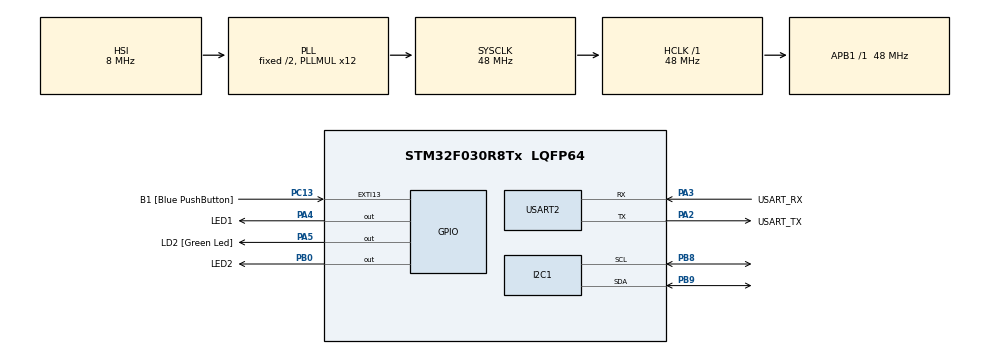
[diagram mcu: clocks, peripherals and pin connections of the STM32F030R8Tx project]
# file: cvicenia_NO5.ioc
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Dma.Request0=USART2_RX
Dma.USART2_RX.0.Direction=DMA_PERIPH_TO_MEMORY
Dma.USART2_RX.0.Instance=DMA1_Channel5
Dma.USART2_RX.0.MemDataAlignment=DMA_MDATAALIGN_BYTE
Dma.USART2_RX.0.MemInc=DMA_MINC_ENABLE
Dma.USART2_RX.0.Mode=DMA_CIRCULAR
Dma.USART2_RX.0.PeriphDataAlignment=DMA_PDATAALIGN_BYTE
Dma.USART2_RX.0.PeriphInc=DMA_PINC_DISABLE
Dma.USART2_RX.0.Priority=DMA_PRIORITY_LOW
Mcu.Family=STM32F0
Mcu.Name=STM32F030R8Tx
Mcu.Package=LQFP64
NVIC.DMA1_Channel4_5_IRQn=true\:0\:0\:false\:false\:true\:false\:true\:true
PA13.GPIO_Label=TMS
PA13.Mode=Serial_Wire
PA13.Signal=SYS_SWDIO
PA14.GPIO_Label=TCK
PA14.Mode=Serial_Wire
PA14.Signal=SYS_SWCLK
PA2.GPIO_Label=USART_TX
PA2.GPIO_Mode=GPIO_MODE_AF_PP
PA2.GPIO_PuPd=GPIO_NOPULL
PA2.GPIO_Speed=GPIO_SPEED_FREQ_LOW
PA2.Mode=Asynchronous
PA2.Signal=USART2_TX
PA3.GPIO_Label=USART_RX
PA3.GPIO_Mode=GPIO_MODE_AF_PP
PA3.GPIO_PuPd=GPIO_NOPULL
PA3.GPIO_Speed=GPIO_SPEED_FREQ_LOW
PA3.Mode=Asynchronous
PA3.Signal=USART2_RX
PA4.GPIO_Label=LED1
PA4.Signal=GPIO_Output
PA5.GPIO_Label=LD2 [Green Led]
PA5.GPIO_Mode=GPIO_MODE_OUTPUT_PP
PA5.GPIO_PuPd=GPIO_NOPULL
PA5.GPIO_Speed=GPIO_SPEED_FREQ_LOW
PA5.Signal=GPIO_Output
PB0.GPIO_Label=LED2
PB0.Signal=GPIO_Output
PB8.Mode=I2C
PB8.Signal=I2C1_SCL
PB9.Mode=I2C
PB9.Signal=I2C1_SDA
PC13.GPIO_Label=B1 [Blue PushButton]
PC13.GPIO_ModeDefaultEXTI=GPIO_MODE_IT_FALLING
PC13.Signal=GPXTI13
PC14-OSC32_IN.Mode=LSE-External-Oscillator
PC14-OSC32_IN.Signal=RCC_OSC32_IN
PC15-OSC32_OUT.Mode=LSE-External-Oscillator
PC15-OSC32_OUT.Signal=RCC_OSC32_OUT
PF0-OSC_IN.Mode=HSE-External-Clock-Source
PF0-OSC_IN.Signal=RCC_OSC_IN
PF1-OSC_OUT.Signal=RCC_OSC_OUT
ProjectManager.HeapSize=0x200
ProjectManager.StackSize=0x400
ProjectManager.TargetToolchain=STM32CubeIDE
RCC.AHBFreq_Value=48000000
RCC.APB1Freq_Value=48000000
RCC.APB1TimFreq_Value=48000000
RCC.HCLKFreq_Value=48000000
RCC.PLLMUL=RCC_PLL_MUL12
RCC.SYSCLKFreq_VALUE=48000000
RCC.SYSCLKSource=RCC_SYSCLKSOURCE_PLLCLK
USART2.VirtualMode-Asynchronous=VM_ASYNC
board=NUCLEO-F030R8

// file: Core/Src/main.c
/* USER CODE BEGIN Header */
/**
  ******************************************************************************
  * @file           : main.c
  * @brief          : Main program body
  ******************************************************************************
  * @attention
  *
  * Copyright (c) 2022 STMicroelectronics.
  * All rights reserved.
  *
  * This software is licensed under terms that can be found in the LICENSE file
  * in the root directory of this software component.
  * If no LICENSE file comes with this software, it is provided AS-IS.
  *
  ******************************************************************************
  */
/* USER CODE END Header */
#include "main.h"

/* USER CODE BEGIN Includes */
#include <stdio.h>
#include <string.h>
#include <stdlib.h>
/* USER CODE END Includes */

/* USER CODE BEGIN PD */
#define RX_BUFFER_LEN 64  //ukladanie surovych dat
#define uart_rx_write_ptr (RX_BUFFER_LEN - hdma_usart2_rx.Instance->CNDTR)
#define CMD_BUFFER_LEN 256  //ulozenie jedneho celeho prikazu
#define EEPROM_ADDR 0x40
/* USER CODE END PD */

I2C_HandleTypeDef hi2c1;

UART_HandleTypeDef huart2;
DMA_HandleTypeDef hdma_usart2_rx;

/* USER CODE BEGIN PV */
static uint8_t uart_rx_buf[RX_BUFFER_LEN];
static volatile uint16_t uart_rx_read_ptr = 0;
/* USER CODE END PV */

void SystemClock_Config(void);
static void MX_GPIO_Init(void);
static void MX_DMA_Init(void);
static void MX_USART2_UART_Init(void);
static void MX_I2C1_Init(void);

/* USER CODE BEGIN 0 */

//standartna weak funkcia,
int _write(int file, char const *buf, int n) {
	HAL_UART_Transmit(&huart2, (uint8_t*)(buf), n, HAL_MAX_DELAY);
	return n;
}

void uart_process_command(char* cmd) {

	char *token;  //token bude ukazovat na 1. slovo prikazu strtok...
	token = strtok(cmd, " ");  //strtok - "HELLO_WORLD\n\0" - ulozi string ukonceny \0, " " je vypis deliacich znakov, orezanie stringu vlozenim \0?

	//--------------READ-------------------
	if (strcasecmp(token, "READ") == 0) {
		token = strtok(NULL, " ");
		uint16_t addr = atoi(token);
		uint8_t value;

		HAL_I2C_Mem_Read(&hi2c1, EEPROM_ADDR, addr, I2C_MEMADD_SIZE_16BIT, &value, 1, 1000);
		printf("Address 0x%04x = 0x%02x\n", addr, value);

	}
	//--------------WRITE------------------
	else if (strcasecmp(token, "WRITE") == 0) {
		token = strtok(NULL, " ");
		uint8_t value = atoi(token);

		token = strtok(NULL, " ");
		uint8_t addr = atoi(token);

		HAL_I2C_Mem_Write(&hi2c1, EEPROM_ADDR, addr, I2C_MEMADD_SIZE_16BIT, &value, 1, 1000);

		while (HAL_I2C_IsDeviceReady(&hi2c1, EEPROM_ADDR, 300, 1000) == HAL_TIMEOUT) {}

		printf("WRITTEN\n");

	}
	//--------------DUMP-------------------
	else if (strcasecmp(token, "DUMP") == 0) {
		uint8_t value;
		for(int addr = 0; addr < 16; addr++)
		{
			HAL_I2C_Mem_Read(&hi2c1, EEPROM_ADDR, addr, I2C_MEMADD_SIZE_16BIT, &value, 1, 1000);
			printf("%02x", value);
			if((addr % 8 ) == 7) printf("\n");
			else printf(" ");
		}
	}
	else {
		printf("Unknown command: %s\n", token);
	}
}

/*

void uart_process_command(char* cmd) {
	//printf("Received: %s\n", cmd);  //print - vypis, f - format, %s - string

	char *token;  //token bude ukazovat na 1. slovo prikazu strtok...
	token = strtok(cmd, " ");  //strtok - "HELLO_WORLD\n\0" - ulozi string ukonceny \0, " " je vypis deliacich znakov, orezanie stringu vlozenim \0?

	//-------------HELLO-------------------
	if (strcasecmp(token, "HELLO") == 0) {
		printf("Hello World!\n");
	}
	//-------------LED1--------------------
	else if (strcasecmp(token, "LED1") == 0) {
		token = strtok(NULL, " ");
		if (strcasecmp(token, "ON") == 0) {
			HAL_GPIO_WritePin(LED1_GPIO_Port, LED1_Pin, 1);
		}
		else if (strcasecmp(token, "OFF") == 0) {
			HAL_GPIO_WritePin(LED1_GPIO_Port, LED1_Pin, 0);
		}
		printf("OK\n");
	}
	//-------------LED2--------------------
	else if (strcasecmp(token, "LED2") == 0) {
		token = strtok(NULL, " ");
		if (strcasecmp(token, "ON") == 0) {
			HAL_GPIO_WritePin(LED2_GPIO_Port, LED2_Pin, 1);
		}
		else if (strcasecmp(token, "OFF") == 0) {
			HAL_GPIO_WritePin(LED2_GPIO_Port, LED2_Pin, 0);
			printf("OK\n");
		}
	}

	//-------------STATUS-------------------
	else if (strcasecmp(token, "STATUS") == 0) {
		//token = strtok(NULL, " ");
		if (HAL_GPIO_ReadPin(LED1_GPIO_Port, LED1_Pin) == 0) {
			printf("LED1 is OFF\n");
		}
		else {
			printf("LED1 is ON\n");
		}
		if (HAL_GPIO_ReadPin(LED2_GPIO_Port, LED2_Pin) == 0) {
			printf("LED2 is OFF\n");
		}
		else {
			printf("LED2 is ON\n");
		}
	}
// %04x -> vypis "0001", kde 0 vypisany znak, 4 je pocet-1
}

*/

static void uart_byte_available(uint8_t c) {
	static uint16_t cnt;
	static char data[CMD_BUFFER_LEN];

	//kontroluje data v riadku
	//c >= 32 - kontrola tlacitelneho znaku ASCII (32 - 126 znakov ASCII)
	//je este priama moznost zadania znaku c >= ' ' && c <= '~' , kde medzera = 32 a ~ = 126
	if(cnt < CMD_BUFFER_LEN && c>= 32 && c <= 126) data[cnt++] = c;
	if ((c == '\n' || c == '\r') && cnt > 0) {
		data[cnt] = '\0';   //ukoncujeme 0 aby sme mohli pracovat s retazcom/stringom
		uart_process_command(data);
		cnt = 0;
	}
}
/* USER CODE END 0 */

int main(void)
{

  /* MCU Configuration--------------------------------------------------------*/

  /* Reset of all peripherals, Initializes the Flash interface and the Systick. */
  HAL_Init();

  /* Configure the system clock */
  SystemClock_Config();

  /* Initialize all configured peripherals */
  MX_GPIO_Init();
  MX_DMA_Init();
  MX_USART2_UART_Init();
  MX_I2C1_Init();
  /* USER CODE BEGIN 2 */
  HAL_UART_Receive_DMA(&huart2, uart_rx_buf, RX_BUFFER_LEN);
  /* USER CODE END 2 */

  /* Infinite loop */
  /* USER CODE BEGIN WHILE */
  while (1)
  {
	  while(uart_rx_read_ptr != uart_rx_write_ptr){
		  uint8_t b = uart_rx_buf[uart_rx_read_ptr];
		  if(++uart_rx_read_ptr >= RX_BUFFER_LEN) uart_rx_read_ptr = 0;

		  uart_byte_available(b);
	  }

	  /*
	uint8_t c;
	HAL_UART_Receive(&huart2, &c, 1, HAL_MAX_DELAY);
	HAL_UART_Transmit(&huart2, &c, 1, HAL_MAX_DELAY);
	*/
    /* USER CODE END WHILE */

  }
}

void SystemClock_Config(void)
{
  RCC_OscInitTypeDef RCC_OscInitStruct = {0};
  RCC_ClkInitTypeDef RCC_ClkInitStruct = {0};
  RCC_PeriphCLKInitTypeDef PeriphClkInit = {0};

  /** Initializes the RCC Oscillators according to the specified parameters
  * in the RCC_OscInitTypeDef structure.
  */
  RCC_OscInitStruct.OscillatorType = RCC_OSCILLATORTYPE_HSI;
  RCC_OscInitStruct.HSIState = RCC_HSI_ON;
  RCC_OscInitStruct.HSICalibrationValue = RCC_HSICALIBRATION_DEFAULT;
  RCC_OscInitStruct.PLL.PLLState = RCC_PLL_ON;
  RCC_OscInitStruct.PLL.PLLSource = RCC_PLLSOURCE_HSI;
  RCC_OscInitStruct.PLL.PLLMUL = RCC_PLL_MUL12;
  RCC_OscInitStruct.PLL.PREDIV = RCC_PREDIV_DIV1;
  if (HAL_RCC_OscConfig(&RCC_OscInitStruct) != HAL_OK)
  {
    Error_Handler();
  }

  /** Initializes the CPU, AHB and APB buses clocks
  */
  RCC_ClkInitStruct.ClockType = RCC_CLOCKTYPE_HCLK|RCC_CLOCKTYPE_SYSCLK
                              |RCC_CLOCKTYPE_PCLK1;
  RCC_ClkInitStruct.SYSCLKSource = RCC_SYSCLKSOURCE_PLLCLK;
  RCC_ClkInitStruct.AHBCLKDivider = RCC_SYSCLK_DIV1;
  RCC_ClkInitStruct.APB1CLKDivider = RCC_HCLK_DIV1;

  if (HAL_RCC_ClockConfig(&RCC_ClkInitStruct, FLASH_LATENCY_1) != HAL_OK)
  {
    Error_Handler();
  }
  PeriphClkInit.PeriphClockSelection = RCC_PERIPHCLK_I2C1;
  PeriphClkInit.I2c1ClockSelection = RCC_I2C1CLKSOURCE_HSI;
  if (HAL_RCCEx_PeriphCLKConfig(&PeriphClkInit) != HAL_OK)
  {
    Error_Handler();
  }
}

static void MX_I2C1_Init(void)
{

  hi2c1.Instance = I2C1;
  hi2c1.Init.Timing = 0x2000090E;
  hi2c1.Init.OwnAddress1 = 0;
  hi2c1.Init.AddressingMode = I2C_ADDRESSINGMODE_7BIT;
  hi2c1.Init.DualAddressMode = I2C_DUALADDRESS_DISABLE;
  hi2c1.Init.OwnAddress2 = 0;
  hi2c1.Init.OwnAddress2Masks = I2C_OA2_NOMASK;
  hi2c1.Init.GeneralCallMode = I2C_GENERALCALL_DISABLE;
  hi2c1.Init.NoStretchMode = I2C_NOSTRETCH_DISABLE;
  if (HAL_I2C_Init(&hi2c1) != HAL_OK)
  {
    Error_Handler();
  }

  /** Configure Analogue filter
  */
  if (HAL_I2CEx_ConfigAnalogFilter(&hi2c1, I2C_ANALOGFILTER_ENABLE) != HAL_OK)
  {
    Error_Handler();
  }

  /** Configure Digital filter
  */
  if (HAL_I2CEx_ConfigDigitalFilter(&hi2c1, 0) != HAL_OK)
  {
    Error_Handler();
  }

}

static void MX_USART2_UART_Init(void)
{

  huart2.Instance = USART2;
  huart2.Init.BaudRate = 38400;
  huart2.Init.WordLength = UART_WORDLENGTH_8B;
  huart2.Init.StopBits = UART_STOPBITS_1;
  huart2.Init.Parity = UART_PARITY_NONE;
  huart2.Init.Mode = UART_MODE_TX_RX;
  huart2.Init.HwFlowCtl = UART_HWCONTROL_NONE;
  huart2.Init.OverSampling = UART_OVERSAMPLING_16;
  huart2.Init.OneBitSampling = UART_ONE_BIT_SAMPLE_DISABLE;
  huart2.AdvancedInit.AdvFeatureInit = UART_ADVFEATURE_NO_INIT;
  if (HAL_UART_Init(&huart2) != HAL_OK)
  {
    Error_Handler();
  }

}

static void MX_DMA_Init(void)
{

  /* DMA controller clock enable */
  __HAL_RCC_DMA1_CLK_ENABLE();

  /* DMA interrupt init */
  /* DMA1_Channel4_5_IRQn interrupt configuration */
  HAL_NVIC_SetPriority(DMA1_Channel4_5_IRQn, 0, 0);
  HAL_NVIC_EnableIRQ(DMA1_Channel4_5_IRQn);

}

static void MX_GPIO_Init(void)
{
  GPIO_InitTypeDef GPIO_InitStruct = {0};

  /* GPIO Ports Clock Enable */
  __HAL_RCC_GPIOC_CLK_ENABLE();
  __HAL_RCC_GPIOF_CLK_ENABLE();
  __HAL_RCC_GPIOA_CLK_ENABLE();
  __HAL_RCC_GPIOB_CLK_ENABLE();

  /*Configure GPIO pin Output Level */
  HAL_GPIO_WritePin(GPIOA, GPIO_PIN_4|GPIO_PIN_5, GPIO_PIN_RESET);

  /*Configure GPIO pin Output Level */
  HAL_GPIO_WritePin(GPIOB, GPIO_PIN_0, GPIO_PIN_RESET);

  /*Configure GPIO pin : PC13 */
  GPIO_InitStruct.Pin = GPIO_PIN_13;
  GPIO_InitStruct.Mode = GPIO_MODE_IT_FALLING;
  GPIO_InitStruct.Pull = GPIO_NOPULL;
  HAL_GPIO_Init(GPIOC, &GPIO_InitStruct);

  /*Configure GPIO pins : PA4 PA5 */
  GPIO_InitStruct.Pin = GPIO_PIN_4|GPIO_PIN_5;
  GPIO_InitStruct.Mode = GPIO_MODE_OUTPUT_PP;
  GPIO_InitStruct.Pull = GPIO_NOPULL;
  GPIO_InitStruct.Speed = GPIO_SPEED_FREQ_LOW;
  HAL_GPIO_Init(GPIOA, &GPIO_InitStruct);

  /*Configure GPIO pin : PB0 */
  GPIO_InitStruct.Pin = GPIO_PIN_0;
  GPIO_InitStruct.Mode = GPIO_MODE_OUTPUT_PP;
  GPIO_InitStruct.Pull = GPIO_NOPULL;
  GPIO_InitStruct.Speed = GPIO_SPEED_FREQ_LOW;
  HAL_GPIO_Init(GPIOB, &GPIO_InitStruct);

}

void Error_Handler(void)
{
  __disable_irq();
  while (1)
  {
  }
}
